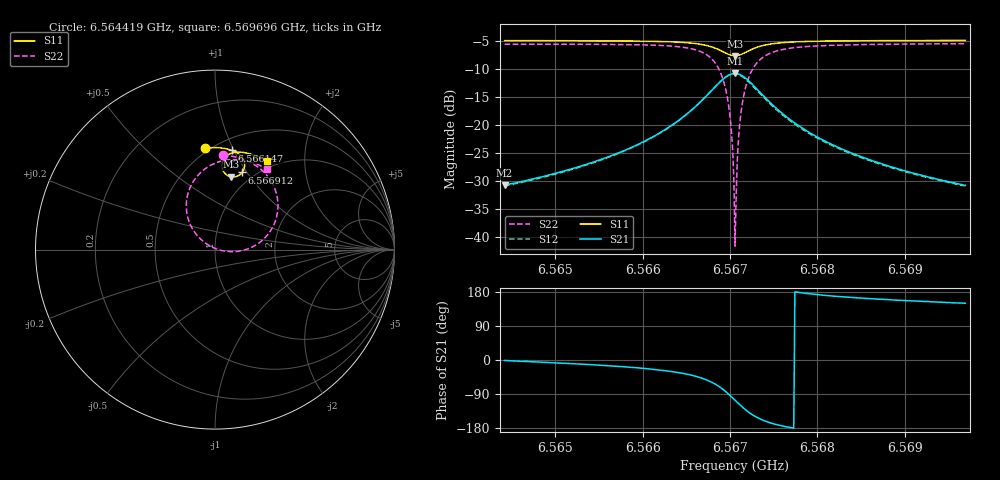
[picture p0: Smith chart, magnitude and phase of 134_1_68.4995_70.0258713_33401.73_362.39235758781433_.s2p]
#  HZ  S  RI  R  50.00
! Rohde & Schwarz Vector Network Analyzer
! Rohde-Schwarz,ZNB20-2Port,1311601062101988,3.16
! Created: UTC 3/20/2024, 4:54:35 PM
! freq[Hz]  re:S11  im:S11  re:S21  im:S21  re:S12  im:S12  re:S22  im:S22
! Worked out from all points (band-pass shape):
!   401 points, 6.564419 GHz to 6.569696 GHz, reference 50 ohm
!   highest |S21| = -10.77 dB at 6.567057 GHz (marker M1); lowest = -30.8 dB at 6.564419 GHz (marker M2)
!   |S21| within 3 dB of the highest: 6.566793 GHz to 6.56732 GHz (527 kHz wide, 0.00803 % of centre)
!   lowest |S11| = -7.6 dB at 6.567057 GHz (marker M3), VSWR 2.42, Z = 41.5 + j40.7 ohm
!   |S11| at or under -10 dB: nowhere
!   |S22| runs from -41.7 to -5.4 dB; largest |S21 - S12| = 0.014
!   S11 on the Smith chart (normalised r, x): 6.564419 GHz: 0.47, +0.79; 6.566147 GHz: 0.61, +0.98; 6.566912 GHz: 0.88, +0.95; 6.569696 GHz: 0.90, +1.32
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6.5644186e9  -0.0574 0.5664  0.0288 -0.000606  0.0284 -0.00114  0.0441 0.5265
6.5653025e9  0.0154 0.5679  0.0423 -0.00819  0.0417 -0.00881  0.1295 0.5119
6.5661469e9  0.0954 0.5526  0.0731 -0.0344  0.0719 -0.0352  0.2436 0.4569
6.5661865e9  0.0997 0.5509  0.0755 -0.0372  0.0744 -0.038  0.2507 0.4512
6.566701e9  0.1599 0.4961  0.1113 -0.132  0.1085 -0.1347  0.3501 0.2666
6.5668198e9  0.1646 0.4625  0.1004 -0.1907  0.0953 -0.1943  0.3347 0.1544
6.5669121e9  0.1519 0.43  0.0609 -0.2465  0.0521 -0.2495  0.2622 0.0505
6.5669913e9  0.1221 0.4081  -0.00734 -0.2807  -0.0196 -0.2799  0.1362 -0.00839
6.5670177e9  0.1086 0.4051  -0.0359 -0.284  -0.0487 -0.2811  0.0847 -0.0115
6.5670309e9  0.1017 0.4046  -0.0507 -0.2833  -0.0634 -0.2796  0.0583 -0.00903
6.567044e9  0.0947 0.405  -0.0653 -0.2815  -0.078 -0.2764  0.0324 -0.00397
6.5670572e9  0.0877 0.4061  -0.0801 -0.2782  -0.0923 -0.2719  0.00717 0.00404
6.5670704e9  0.081 0.408  -0.0941 -0.2733  -0.1059 -0.2659  -0.0172 0.0145
6.5670836e9  0.0744 0.4108  -0.1074 -0.2671  -0.1188 -0.2587  -0.0402 0.0272
6.56711e9  0.0626 0.4183  -0.1318 -0.2511  -0.1417 -0.2409  -0.0807 0.0587
6.5671364e9  0.0531 0.4276  -0.1522 -0.2315  -0.1599 -0.2204  -0.1128 0.0959
6.5671892e9  0.0414 0.4497  -0.1783 -0.1875  -0.1821 -0.1756  -0.1512 0.1765
6.5672551e9  0.0391 0.4764  -0.188 -0.135  -0.1881 -0.1242  -0.1587 0.2694
6.5675058e9  0.0774 0.5307  -0.1441 -0.0283  -0.1409 -0.024  -0.0571 0.449
6.5679412e9  0.1404 0.5432  -0.0825 0.00886  -0.0804 0.0101  0.0817 0.5009
6.5688251e9  0.2237 0.5235  -0.0399 0.0153  -0.039 0.0156  0.2125 0.4838
6.5696959e9  0.2888 0.4927  -0.0249 0.0145  -0.0244 0.0147  0.2904 0.4484
